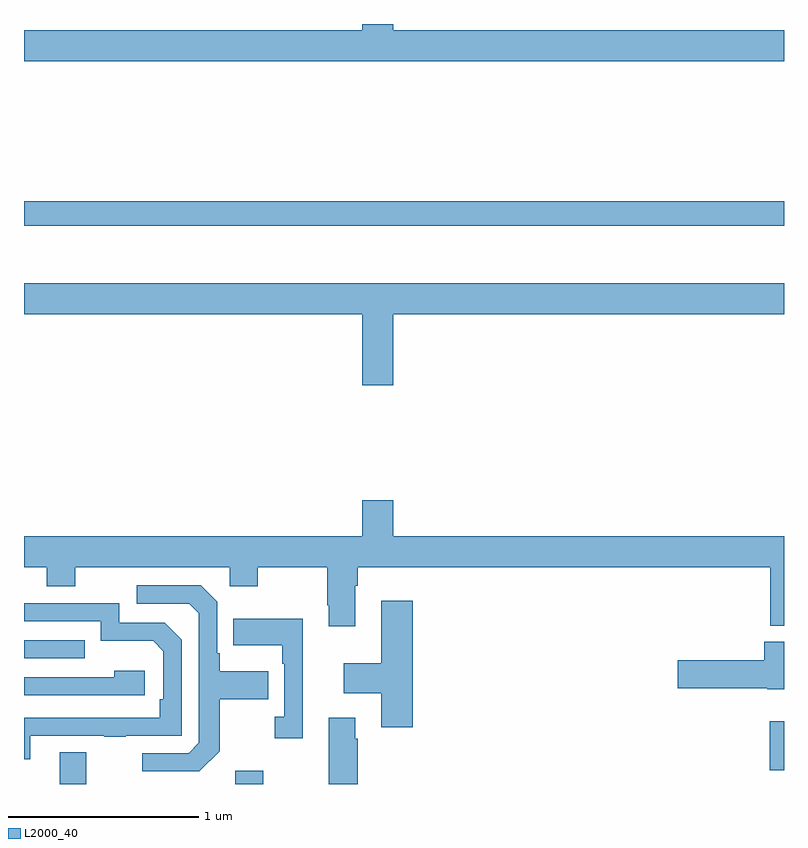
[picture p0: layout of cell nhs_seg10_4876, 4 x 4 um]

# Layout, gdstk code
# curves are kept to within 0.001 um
import gdstk
lib = gdstk.Library(unit=1e-6, precision=1e-09)
def R(c, l, rs):  # rectangles x0, y0, x1, y1
    for r in rs: c.add(gdstk.rectangle(r[:2], r[2:], *l))
def P(c, l, *ps):  # polygons
    for p in ps: c.add(gdstk.Polygon(p, *l))
L2000_40 = (2000, 40)

nhs_seg10_4876 = lib.new_cell('nhs_seg10_4876')
R(nhs_seg10_4876, L2000_40, [(391.187,1308.5,391.327,1308.667), (392.111,1308.5,392.259,1308.571), (394.926,1308.572,395,1308.829), (391,1309.161,391.319,1309.257), (391,1311.438,395,1311.566)])
P(nhs_seg10_4876, L2000_40, [(395,1312.468),(392.944,1312.468),(392.944,1312.5),(392.78,1312.5),(392.78,1312.468),(391,1312.468),(391,1312.304),(395,1312.304)],
  [(392.944,1310.972),(395,1310.972),(395,1311.136),(391,1311.136),(391,1310.972),(392.78,1310.972),(392.78,1310.598),(392.944,1310.598)],
  [(392.743,1309.544),(392.756,1309.544),(392.756,1309.64),(394.927,1309.64),(394.927,1309.334),(395,1309.334),(395,1309.804),(392.944,1309.804),(392.944,1309.993),(392.78,1309.993),(392.78,1309.804),(391,1309.804),(391,1309.64),(391.121,1309.64),(391.121,1309.541),(391.269,1309.541),(391.269,1309.64),(392.082,1309.64),(392.082,1309.541),(392.229,1309.541),(392.229,1309.64),(392.596,1309.64),(392.596,1309.441),(392.603,1309.441),(392.603,1309.329),(392.743,1309.329)],
  [(392.029,1308.673),(392.029,1308.946),(392.285,1308.946),(392.285,1309.093),(392.029,1309.093),(392.029,1309.189),(392.016,1309.189),(392.016,1309.458),(391.929,1309.545),(391.593,1309.545),(391.593,1309.449),(391.869,1309.449),(391.92,1309.398),(391.92,1308.717),(391.866,1308.663),(391.623,1308.663),(391.623,1308.567),(391.923,1308.567)],
  [(393.047,1309.465),(392.879,1309.465),(392.879,1309.135),(392.682,1309.135),(392.682,1308.977),(392.879,1308.977),(392.879,1308.798),(393.047,1308.798)],
  [(391.033,1308.753),(391.423,1308.753),(391.423,1308.748),(391.535,1308.748),(391.535,1308.753),(391.83,1308.753),(391.83,1309.26),(391.74,1309.35),(391.5,1309.35),(391.5,1309.452),(391,1309.452),(391,1309.356),(391.404,1309.356),(391.404,1309.253),(391.681,1309.253),(391.734,1309.2),(391.734,1308.946),(391.714,1308.946),(391.714,1308.849),(391,1308.848),(391,1308.63),(391.033,1308.63)],
  [(392.468,1309.369),(392.101,1309.369),(392.101,1309.229),(392.358,1309.229),(392.358,1309.133),(392.37,1309.133),(392.37,1308.854),(392.319,1308.854),(392.319,1308.741),(392.468,1308.741)],
  [(395,1309.249),(394.895,1309.249),(394.895,1309.151),(394.44,1309.151),(394.44,1309.004),(394.911,1309.004),(394.911,1308.998),(395,1308.998)],
  [(391.636,1309.096),(391.475,1309.096),(391.475,1309.062),(391,1309.062),(391,1308.966),(391.636,1308.966)],
  [(392.756,1308.737),(392.743,1308.737),(392.743,1308.85),(392.603,1308.85),(392.603,1308.5),(392.756,1308.5)])

lib.write_gds('nhs_seg10_4876.gds')
